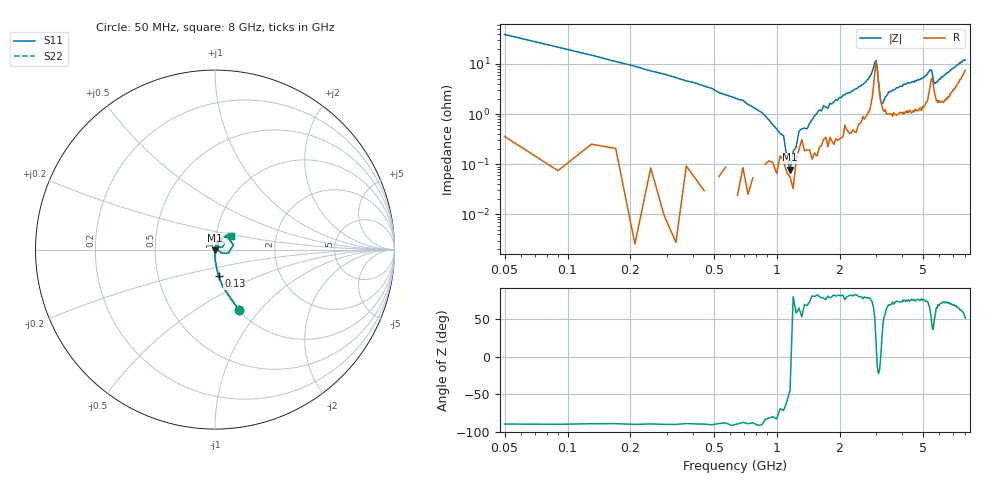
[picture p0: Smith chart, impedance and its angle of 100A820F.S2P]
!  American Technical Ceramics  Date:  3/13/98
!  One Norden Lane
!  Huntington Station,  NY.  11746-2102
!  Tel:  (516) 547-5700  Fax:  (516) 547-5748
!  Part Number  100A820F
!  Description: Porcelain, High Q, Low ESR
!  Application: Bypass, Coupling, Timing, Feedback
!  Tuning, Impedance Match, Blocking
# GHZ S DB R 50
! Freq  |S11|  S11 Ph  |S21|  S21 Ph  |S12|  S12 Ph  |S22|  S22 Ph
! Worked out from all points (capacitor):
!   201 points, 50 MHz to 8 GHz, reference 50 ohm
!   read as one part in series: C = 81.3 pF near 90 MHz
!   lowest |Z| = 78.3 mohm at 1.16 GHz (marker M1)
!   series resonance near 1.17 GHz, so ESL is about 230 pH
!   S11 on the Smith chart (normalised r, x): 50 MHz: 1.01, -0.77; 130 MHz: 1.00, -0.30; 8 GHz: 1.18, +0.18
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0.05  -8.88 -68.4  -0.64 21.2  -0.64 21.2  -8.88 -68.4
0.13  -16.55 -82.3  -0.16 8.5  -0.16 8.5  -16.55 -82.3
0.33  -25.11 -89.0  -0.03 2.9  -0.03 2.9  -25.11 -89.0
1.08  -44.81 -100.8  -0.03 0.1  -0.03 0.1  -44.81 -100.8
1.16  -50.92 -90.8  -0.01 -0.1  -0.01 -0.1  -50.92 -90.8
1.2  -54.90 -106.2  -0.01 -0.3  -0.01 -0.3  -54.90 -106.2
1.24  -63.73 -86.0  -0.02 -0.2  -0.02 -0.2  -63.73 -86.0
1.28  -64.10 -169.9  -0.04 -0.5  -0.04 -0.5  -64.10 -169.9
1.32  -55.15 74.8  -0.05 -0.4  -0.05 -0.4  -55.15 74.8
1.36  -54.95 80.8  -0.03 -0.5  -0.03 -0.5  -54.95 80.8
1.4  -49.17 82.7  -0.03 -0.3  -0.03 -0.3  -49.17 82.7
1.68  -39.27 85.7  -0.05 -1.0  -0.05 -1.0  -39.27 85.7
2.71  -27.05 74.2  -0.09 -2.9  -0.09 -2.9  -27.05 74.2
2.99  -19.48 13.8  -0.89 -2.5  -0.89 -2.5  -19.48 13.8
3.11  -31.56 -23.2  -0.23 0.3  -0.23 0.3  -31.56 -23.2
3.19  -36.19 14.9  -0.12 -0.6  -0.12 -0.6  -36.19 14.9
4.03  -30.03 66.6  -0.08 -2.6  -0.08 -2.6  -30.03 66.6
5.38  -24.96 56.0  -0.26 -4.6  -0.26 -4.6  -24.96 56.0
5.5  -24.47 35.2  -0.45 -4.1  -0.45 -4.1  -24.47 35.2
5.77  -31.63 44.6  -0.21 -2.9  -0.21 -2.9  -31.63 44.6
6.69  -24.78 61.9  -0.19 -4.5  -0.19 -4.5  -24.78 61.9
8  -18.79 40.6  -0.56 -5.2  -0.56 -5.2  -18.79 40.6
